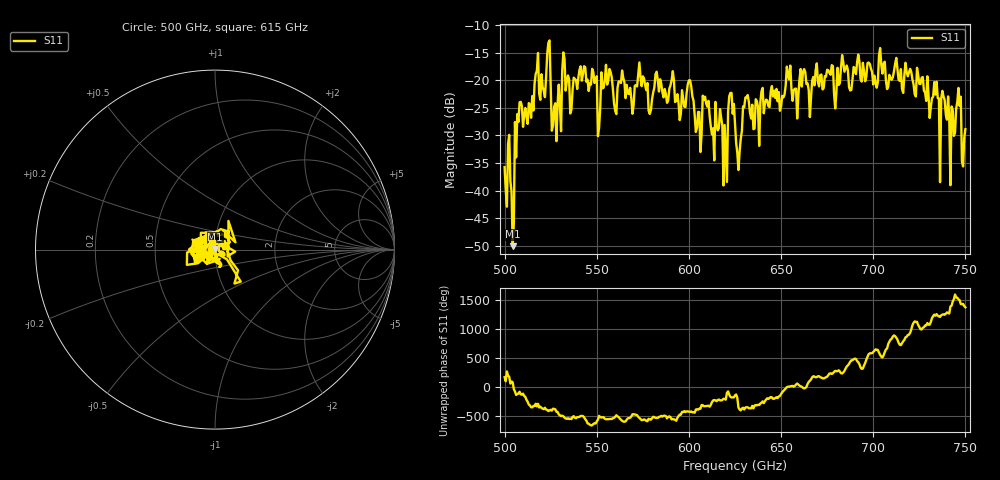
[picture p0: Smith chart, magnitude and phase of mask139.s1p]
!Created with skrf (http://scikit-rf.org).
# GHz S MA R 50.0
!freq magS11 angS11
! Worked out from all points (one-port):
!   401 points, 500 GHz to 750 GHz, reference 50 ohm
!   lowest |S11| = -50.1 dB at 504.4 GHz (marker M1), VSWR 1.01, Z = 50.1 + j0.31 ohm
!   |S11| at or under -10 dB: start of sweep to end of sweep
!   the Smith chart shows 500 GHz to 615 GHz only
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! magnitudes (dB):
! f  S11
! 500 GHz  -35.7
! 504.4 GHz  -50.1
! 508.1 GHz  -24.0
! 523.8 GHz  -13.2
! 526.9 GHz  -24.8
! 531.2 GHz  -18.3
! 548.8 GHz  -20.5
! 551.9 GHz  -25.0
! 553.8 GHz  -21.3
! 560 GHz  -25.5
! 562.5 GHz  -20.2
! 590.6 GHz  -20.0
! 593.8 GHz  -22.5
! 600.6 GHz  -20.0
! 605.6 GHz  -25.8
! 609.4 GHz  -24.3
! 619.4 GHz  -28.1
! 622.5 GHz  -22.3
! 625 GHz  -28.0
! 626.9 GHz  -36.3
! 630.6 GHz  -23.1
! 656.2 GHz  -23.7
! 687.5 GHz  -21.9
! 718.8 GHz  -19.3
! 738.1 GHz  -22.9
! 743.1 GHz  -25.4
! 746.2 GHz  -21.4
! 750 GHz  -28.9
